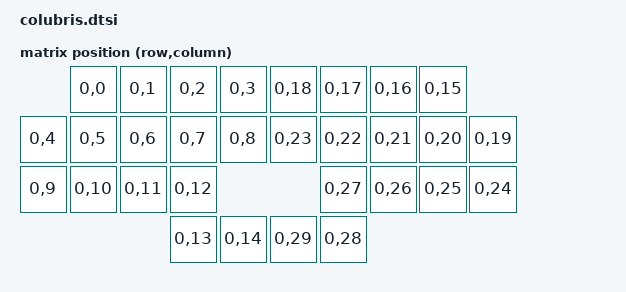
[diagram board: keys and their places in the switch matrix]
/*
 * Copyright (c) 2020 The ZMK Contributors
 *
 * SPDX-License-Identifier: MIT
 */

#include <dt-bindings/zmk/matrix_transform.h>
#include "colubris-layout.dtsi"

&colubris_layout{
        kscan = <&kscan0>;
        transform = <&default_transform>;
};

/ {
    chosen {
        zmk,physical-layout = &colubris_layout;
    };

    
    default_transform: keymap_transform_0 {
        compatible = "zmk,matrix-transform";
        columns = <30>;
        rows = <1>;
        map = <
                     RC(0,0)  RC(0,1)  RC(0,2)  RC(0,3)       RC(0,18)  RC(0,17)  RC(0,16)  RC(0,15)
            RC(0,4)  RC(0,5)  RC(0,6)  RC(0,7)  RC(0,8)       RC(0,23)  RC(0,22)  RC(0,21)  RC(0,20)  RC(0,19)
            RC(0,9)  RC(0,10) RC(0,11) RC(0,12)                         RC(0,27)  RC(0,26)  RC(0,25)  RC(0,24)
                                       RC(0,13) RC(0,14)      RC(0,29)  RC(0,28)
        >;
    };

    kscan0: kscan0 {
        compatible = "zmk,kscan-gpio-direct";
        wakeup-source;
    };

};

/*
*   For ZMK Split Input Peripheral
*
*/

/{
  split_inputs {
    #address-cells = <1>;
    #size-cells = <0>;
    tpoint_split: tpoint_split@0 { compatible = "zmk,input-split"; reg = <0>; };
  };
  
  // We need to add a listener to all the splits,
  // i.e., for both the central and peripheral(s).
  tpoint_listener: tpoint_listener {
        compatible = "zmk,input-listener";
        status = "disabled";
        device = <&tpoint_split>;
  };
};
